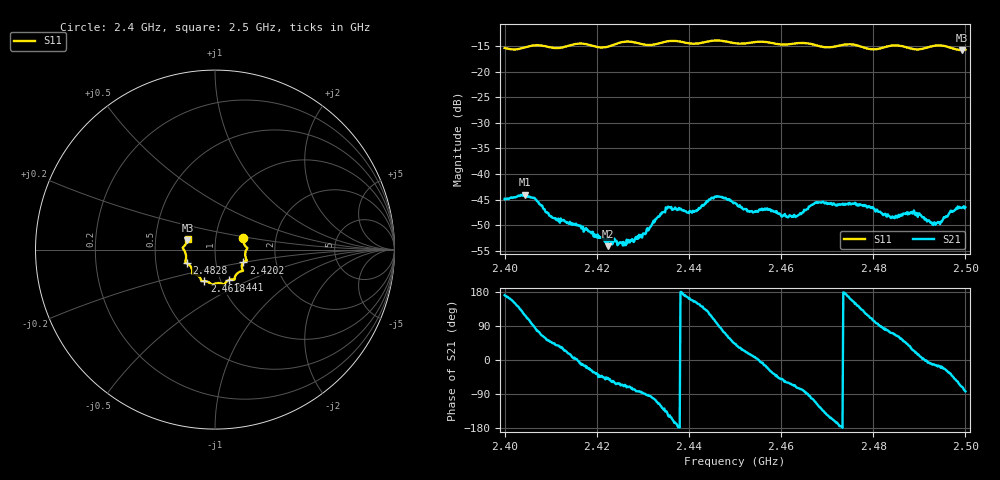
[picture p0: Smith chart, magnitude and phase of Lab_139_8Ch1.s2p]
# Hz S RI R 50
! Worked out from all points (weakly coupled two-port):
!   601 points, 2.4 GHz to 2.5 GHz, reference 50 ohm
!   highest |S21| = -44.01 dB at 2.4043 GHz (marker M1); lowest = -54.1 dB at 2.4223 GHz (marker M2)
!   lowest |S11| = -15.8 dB at 2.4993 GHz (marker M3), VSWR 1.39, Z = 36.5 + j3.85 ohm
!   |S11| at or under -10 dB: start of sweep to end of sweep
!   S12 and S22 are empty: the file has one direction only
!   S11 on the Smith chart (normalised r, x): 2.4 GHz: 1.36, +0.18; 2.4202 GHz: 1.36, -0.20; 2.441 GHz: 1.10, -0.39; 2.4618 GHz: 0.84, -0.30; 2.4828 GHz: 0.72, -0.11; 2.5 GHz: 0.73, +0.09
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2.4e9  0.1582 0.0629  -0.00565 0.000902  0 0  0 0
2.404333e9  0.1713 0.0172  -0.00299 0.00555  0 0  0 0
2.406833e9  0.1806 0.00947  0.000896 0.00555  0 0  0 0
2.410167e9  0.1714 -0.00737  0.00261 0.00284  0 0  0 0
2.416667e9  0.1776 -0.0606  0.00287 -0.000653  0 0  0 0
2.420167e9  0.1582 -0.0715  0.00205 -0.00156  0 0  0 0
2.422333e9  0.1493 -0.0909  0.00135 -0.00145  0 0  0 0
2.427667e9  0.154 -0.1193  0.000655 -0.00223  0 0  0 0
2.433333e9  0.1116 -0.1511  -0.00165 -0.00349  0 0  0 0
2.4355e9  0.1094 -0.1651  -0.00404 -0.00261  0 0  0 0
2.441e9  0.0785 -0.1698  -0.0039 0.00191  0 0  0 0
2.446e9  0.0499 -0.1949  -0.000834 0.00592  0 0  0 0
2.45e9  0.0284 -0.1871  0.00386 0.00354  0 0  0 0
2.461833e9  -0.0594 -0.1755  0.00189 -0.00349  0 0  0 0
2.466667e9  -0.0783 -0.1681  -0.00102 -0.0049  0 0  0 0
2.476e9  -0.1273 -0.1304  -0.00445 0.00275  0 0  0 0
2.482833e9  -0.1573 -0.0768  0.000753 0.0038  0 0  0 0
2.483333e9  -0.1604 -0.0753  0.000974 0.00378  0 0  0 0
2.4885e9  -0.1608 -0.0432  0.00366 0.00186  0 0  0 0
2.493333e9  -0.179 0.00593  0.00329 -0.000771  0 0  0 0
2.499333e9  -0.1538 0.0513  0.00152 -0.00445  0 0  0 0
2.5e9  -0.1521 0.0608  0.000605 -0.0047  0 0  0 0
